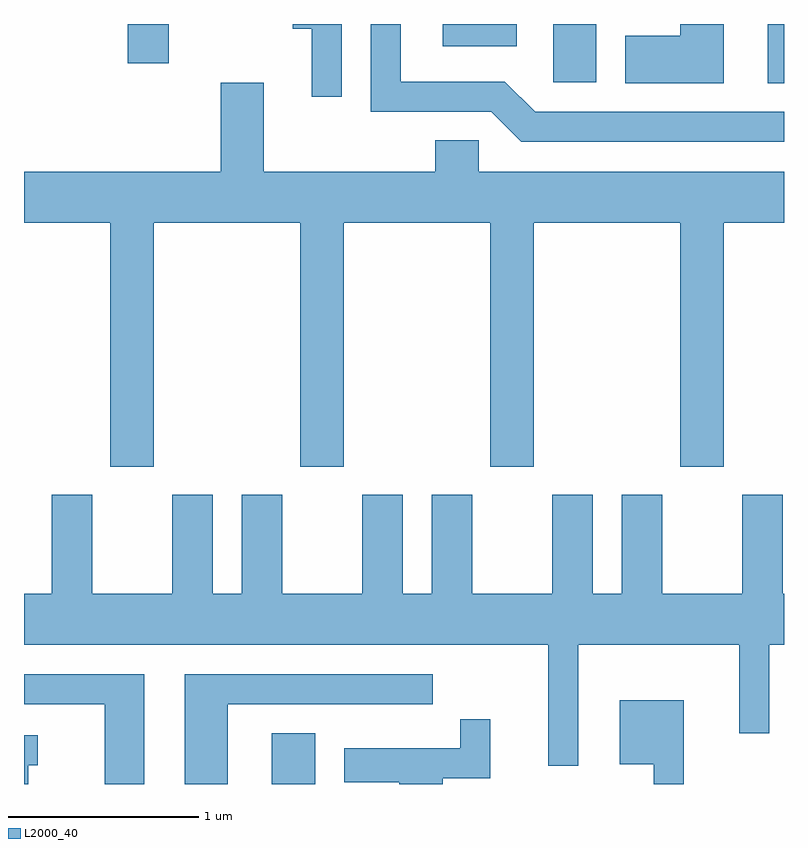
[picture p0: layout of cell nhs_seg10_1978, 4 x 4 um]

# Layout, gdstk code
import gdstk
lib = gdstk.Library(unit=1e-6, precision=1e-09)
def R(c, l, rs):  # rectangles x0, y0, x1, y1
    for r in rs: c.add(gdstk.rectangle(r[:2], r[2:], *l))
def P(c, l, *ps):  # polygons
    for p in ps: c.add(gdstk.Polygon(p, *l))
L2000_40 = (2000, 40)

nhs_seg10_1978 = lib.new_cell('nhs_seg10_1978')
R(nhs_seg10_1978, L2000_40, [(244.916,2106.522,245.144,2106.789), (247.526,2110.211,247.611,2110.522), (246.396,2110.216,246.624,2110.522), (244.156,2110.316,244.374,2110.522), (245.816,2110.406,246.204,2110.522)])
P(nhs_seg10_1978, L2000_40, [(247.611,2110.059),(246.302,2110.059),(246.142,2110.219),(245.594,2110.219),(245.594,2110.522),(245.436,2110.522),(245.436,2110.061),(246.069,2110.061),(246.229,2109.901),(247.611,2109.901)],
  [(245.284,2110.522),(245.026,2110.522),(245.026,2110.496),(245.126,2110.496),(245.126,2110.138),(245.284,2110.138)],
  [(247.294,2110.522),(247.066,2110.522),(247.066,2110.459),(246.776,2110.459),(246.776,2110.211),(247.294,2110.211)],
  [(244.294,2109.476),(245.066,2109.476),(245.066,2108.191),(245.294,2108.191),(245.294,2109.476),(246.066,2109.476),(246.066,2108.191),(246.294,2108.191),(246.294,2109.476),(247.066,2109.476),(247.066,2108.191),(247.294,2108.191),(247.294,2109.476),(247.611,2109.476),(247.611,2109.744),(246.004,2109.744),(246.004,2109.909),(245.776,2109.909),(245.776,2109.744),(244.874,2109.744),(244.874,2110.214),(244.646,2110.214),(244.646,2109.744),(243.611,2109.744),(243.611,2109.476),(244.066,2109.476),(244.066,2108.191),(244.294,2108.191)],
  [(246.529,2107.256),(247.376,2107.256),(247.376,2106.788),(247.534,2106.788),(247.534,2107.256),(247.611,2107.256),(247.611,2107.524),(247.604,2107.524),(247.604,2108.044),(247.391,2108.044),(247.391,2107.524),(246.969,2107.524),(246.969,2108.044),(246.756,2108.044),(246.756,2107.524),(246.604,2107.524),(246.604,2108.044),(246.391,2108.044),(246.391,2107.524),(245.969,2107.524),(245.969,2108.044),(245.756,2108.044),(245.756,2107.524),(245.604,2107.524),(245.604,2108.044),(245.391,2108.044),(245.391,2107.524),(244.969,2107.524),(244.969,2108.044),(244.756,2108.044),(244.756,2107.524),(244.604,2107.524),(244.604,2108.044),(244.391,2108.044),(244.391,2107.524),(243.969,2107.524),(243.969,2108.044),(243.756,2108.044),(243.756,2107.524),(243.611,2107.524),(243.611,2107.256),(246.371,2107.256),(246.371,2106.618),(246.529,2106.618)],
  [(244.684,2106.941),(245.763,2106.941),(245.763,2107.099),(244.456,2107.099),(244.456,2106.522),(244.684,2106.522)],
  [(244.244,2107.099),(243.611,2107.099),(243.611,2106.941),(244.036,2106.941),(244.036,2106.522),(244.244,2106.522)],
  [(247.084,2106.964),(246.746,2106.964),(246.746,2106.626),(246.926,2106.626),(246.926,2106.522),(247.084,2106.522)],
  [(245.814,2106.551),(246.064,2106.551),(246.064,2106.863),(245.906,2106.863),(245.906,2106.709),(245.296,2106.709),(245.296,2106.531),(245.586,2106.531),(245.586,2106.522),(245.814,2106.522)],
  [(243.634,2106.621),(243.683,2106.621),(243.683,2106.779),(243.611,2106.779),(243.611,2106.522),(243.634,2106.522)])

lib.write_gds('nhs_seg10_1978.gds')
